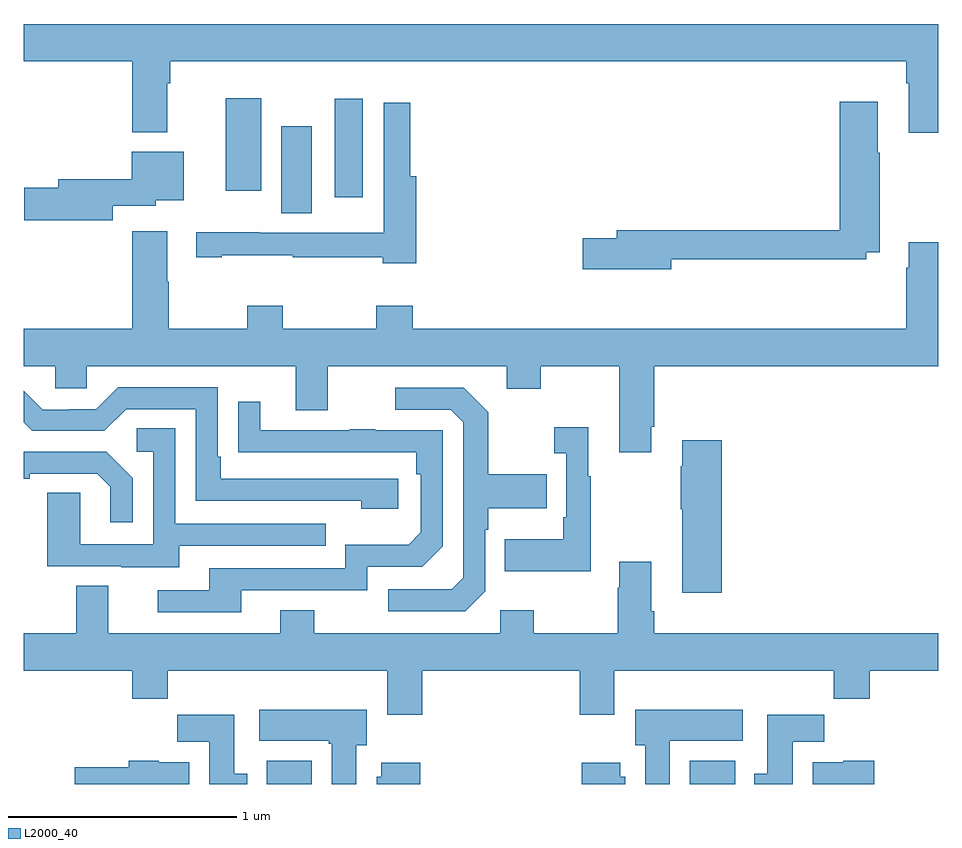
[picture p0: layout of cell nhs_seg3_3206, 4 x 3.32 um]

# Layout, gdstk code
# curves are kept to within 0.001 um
import gdstk
lib = gdstk.Library(unit=1e-6, precision=1e-09)
def R(c, l, rs):  # rectangles x0, y0, x1, y1
    for r in rs: c.add(gdstk.rectangle(r[:2], r[2:], *l))
def P(c, l, *ps):  # polygons
    for p in ps: c.add(gdstk.Polygon(p, *l))
L2000_40 = (2000, 40)

nhs_seg3_3206 = lib.new_cell('nhs_seg3_3206')
R(nhs_seg3_3206, L2000_40, [(278.063,720.4,278.26,720.502), (279.914,720.4,280.111,720.502), (278.126,722.896,278.26,723.277), (278.36,722.967,278.482,723.397), (277.883,722.994,278.038,723.4)])
P(nhs_seg3_3206, L2000_40, [(281,723.724),(277,723.724),(277,723.56),(277.475,723.56),(277.475,723.251),(277.627,723.251),(277.627,723.464),(277.64,723.464),(277.64,723.56),(280.859,723.56),(280.859,723.464),(280.871,723.464),(280.871,723.249),(281,723.249)],
  [(279.832,722.694),(280.686,722.694),(280.686,722.726),(280.743,722.726),(280.743,723.161),(280.735,723.161),(280.735,723.385),(280.568,723.385),(280.568,722.822),(279.593,722.822),(279.593,722.786),(279.444,722.786),(279.444,722.651),(279.832,722.651)],
  [(278.717,723.058),(278.69,723.058),(278.69,723.379),(278.574,723.379),(278.574,722.812),(278.364,722.812),(278.364,722.811),(278.03,722.811),(278.03,722.813),(277.755,722.813),(277.755,722.703),(277.867,722.703),(277.867,722.713),(278.177,722.713),(278.177,722.703),(278.57,722.703),(278.57,722.678),(278.717,722.678)],
  [(277.39,722.928),(277.578,722.928),(277.578,722.954),(277.699,722.954),(277.699,723.166),(277.472,723.166),(277.472,723.044),(277.151,723.044),(277.151,723.008),(277.002,723.008),(277.002,722.866),(277.39,722.866)],
  [(279.745,721.963),(279.758,721.963),(279.758,722.228),(281,722.228),(281,722.77),(280.871,722.77),(280.871,722.657),(280.859,722.657),(280.859,722.392),(278.702,722.392),(278.702,722.491),(278.542,722.491),(278.542,722.392),(278.133,722.392),(278.133,722.491),(277.978,722.491),(277.978,722.392),(277.635,722.392),(277.635,722.597),(277.627,722.597),(277.627,722.818),(277.475,722.818),(277.475,722.392),(277,722.392),(277,722.228),(277.137,722.228),(277.137,722.13),(277.275,722.13),(277.275,722.228),(278.189,722.228),(278.189,722.034),(278.329,722.034),(278.329,722.228),(279.113,722.228),(279.113,722.129),(279.261,722.129),(279.261,722.228),(279.605,722.228),(279.605,721.851),(279.745,721.851)],
  [(278.638,721.734),(277.861,721.734),(277.861,721.831),(277.848,721.831),(277.848,722.136),(277.413,722.136),(277.317,722.04),(277.199,722.04),(277.199,722.037),(277.083,722.037),(277,722.12),(277,721.982),(277.038,721.944),(277.353,721.944),(277.449,722.04),(277.752,722.04),(277.752,721.638),(278.477,721.638),(278.477,721.604),(278.638,721.604)],
  [(279.018,721.242),(279.018,721.511),(279.031,721.511),(279.031,721.607),(279.287,721.607),(279.287,721.755),(279.031,721.755),(279.031,722.027),(278.925,722.133),(278.625,722.133),(278.625,722.037),(278.868,722.037),(278.922,721.983),(278.922,721.302),(278.871,721.251),(278.595,721.251),(278.595,721.155),(278.931,721.155)],
  [(277.951,721.248),(278.502,721.248),(278.502,721.35),(278.742,721.35),(278.832,721.44),(278.832,721.947),(278.537,721.947),(278.537,721.952),(278.425,721.952),(278.425,721.947),(278.035,721.947),(278.035,722.071),(277.939,722.071),(277.939,721.852),(278.716,721.851),(278.716,721.754),(278.736,721.754),(278.736,721.5),(278.683,721.447),(278.406,721.447),(278.406,721.344),(277.811,721.344),(277.811,721.248),(277.587,721.248),(277.587,721.152),(277.951,721.152)],
  [(279.481,721.747),(279.469,721.747),(279.469,721.96),(279.321,721.96),(279.321,721.847),(279.372,721.847),(279.372,721.567),(279.36,721.567),(279.36,721.471),(279.103,721.471),(279.103,721.331),(279.481,721.331)],
  [(277.681,721.443),(278.321,721.443),(278.321,721.539),(277.662,721.539),(277.662,721.955),(277.494,721.955),(277.494,721.854),(277.566,721.854),(277.566,721.449),(277.248,721.449),(277.248,721.673),(277.103,721.673),(277.103,721.353),(277.427,721.353),(277.427,721.349),(277.681,721.349)],
  [(280.054,721.903),(279.881,721.903),(279.881,721.79),(279.874,721.79),(279.874,721.601),(279.881,721.601),(279.881,721.236),(280.054,721.236)],
  [(277.476,721.738),(277.36,721.854),(277,721.854),(277,721.736),(277.027,721.736),(277.027,721.758),(277.322,721.758),(277.379,721.701),(277.379,721.545),(277.476,721.545)],
  [(278.744,720.896),(279.431,720.896),(279.431,720.702),(279.583,720.702),(279.583,720.896),(280.543,720.896),(280.543,720.772),(280.7,720.772),(280.7,720.896),(281,720.896),(281,721.06),(279.758,721.06),(279.758,721.156),(279.745,721.156),(279.745,721.372),(279.605,721.372),(279.605,721.259),(279.598,721.259),(279.598,721.06),(279.231,721.06),(279.231,721.159),(279.084,721.159),(279.084,721.06),(278.271,721.06),(278.271,721.159),(278.123,721.159),(278.123,721.06),(277.369,721.06),(277.369,721.268),(277.229,721.268),(277.229,721.06),(277,721.06),(277,720.896),(277.475,720.896),(277.475,720.772),(277.631,720.772),(277.631,720.896),(278.591,720.896),(278.591,720.702),(278.744,720.702)],
  [(279.826,720.59),(280.144,720.59),(280.144,720.724),(279.674,720.724),(279.674,720.57),(279.719,720.57),(279.719,720.4),(279.826,720.4)],
  [(278.455,720.57),(278.5,720.57),(278.5,720.724),(278.031,720.724),(278.031,720.59),(278.335,720.59),(278.335,720.577),(278.348,720.577),(278.348,720.4),(278.455,720.4)],
  [(280.363,720.584),(280.502,720.584),(280.502,720.703),(280.253,720.703),(280.253,720.444),(280.196,720.444),(280.196,720.4),(280.363,720.4)],
  [(277.978,720.444),(277.921,720.444),(277.921,720.703),(277.672,720.703),(277.672,720.584),(277.811,720.584),(277.811,720.4),(277.978,720.4)],
  [(280.72,720.502),(280.584,720.502),(280.584,720.496),(280.451,720.496),(280.451,720.4),(280.72,720.4)],
  [(277.723,720.496),(277.59,720.496),(277.59,720.502),(277.46,720.502),(277.46,720.474),(277.224,720.474),(277.224,720.4),(277.723,720.4)],
  [(278.735,720.493),(278.564,720.493),(278.564,720.432),(278.543,720.432),(278.543,720.4),(278.735,720.4)],
  [(279.631,720.432),(279.61,720.432),(279.61,720.493),(279.44,720.493),(279.44,720.4),(279.631,720.4)])

lib.write_gds('nhs_seg3_3206.gds')
